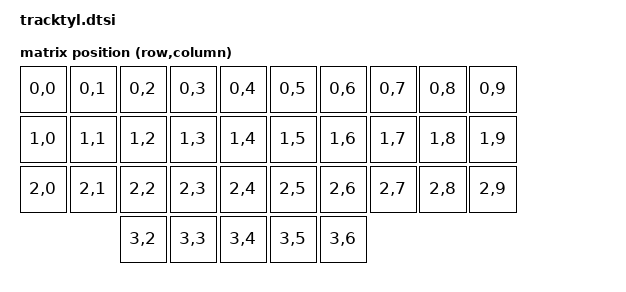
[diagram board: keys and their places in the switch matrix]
#include <dt-bindings/zmk/matrix_transform.h>

/ {
    chosen: chosen {
        zmk,kscan = &kscan;
        zmk,matrix_transform = &default_transform;
    };

    default_transform: keymap_transform_0 {
        compatible = "zmk,matrix-transform";
        columns = <10>;
        rows = <4>;
        map = <
            RC(0,0) RC(0,1) RC(0,2) RC(0,3) RC(0,4)  RC(0,5) RC(0,6) RC(0,7) RC(0,8) RC(0,9)
            RC(1,0) RC(1,1) RC(1,2) RC(1,3) RC(1,4)  RC(1,5) RC(1,6) RC(1,7) RC(1,8) RC(1,9)
            RC(2,0) RC(2,1) RC(2,2) RC(2,3) RC(2,4)  RC(2,5) RC(2,6) RC(2,7) RC(2,8) RC(2,9)
                            RC(3,2) RC(3,3) RC(3,4)  RC(3,5) RC(3,6)
        >;
    };

      /* Scan matrix declaration */
	kscan: kscan {
		compatible = "zmk,kscan-composite";
		label = "KSCAN";
		rows = <5>;
		columns = <10>;

    /* There is a key matrix by default */
		normal_keys {
			kscan = <&kscan0>;
		};
	};

/* Configure trackballs (either split can have the trackball) */
    trackballs {
		compatible = "zmk,keymap-trackballs";
		trackballs = <&trackball>;
	};

/* Configure encoders (both splits can have a encoder) */
	sensors {
		compatible = "zmk,keymap-sensors";
		sensors = <&encoder_left &encoder_right>;
	};
  
  // define the two encoders
	encoder_left: encoder_left {
		compatible = "alps,ec11";
        status = "disabled";
		label = "LEFT_ENCODER";
		resolution = <2>;
	};

	encoder_right: encoder_right {
		compatible = "alps,ec11";
        status = "disabled";
		label = "RIGHT_ENCODER";
        resolution = <2>;
	};
};

&nice_nano_spi {
    /*
        sck -> P0.22 -> left 7
        miso -> P0.17 -> left 5
        cs -> P0.24 -> left 8
        irq -> P1.0 -> left 9
        mosi -> P0.20 -> left 6
        gnd -> left 3, left 4, right 2
        vdd -> right 4
    */
    compatible = "nordic,nrf-spim";
    status = "disabled";
    miso-pin = <17>; // P0.17
    mosi-pin = <20>; // P0.20
    sck-pin = <22>; // P0.22
    cs-gpios = <&gpio0 24 GPIO_ACTIVE_LOW>; // P0.24

    trackball: trackball@0 {
        status = "disabled";
        compatible = "pixart,pmw3360";
        reg = <0>;
        label = "Pixart PMW3360";
        irq-gpios = <&gpio1 0 (GPIO_ACTIVE_LOW | GPIO_PULL_UP)>;
        spi-max-frequency = <2000000>;
        scroll-layer = <1>;
    };
};
